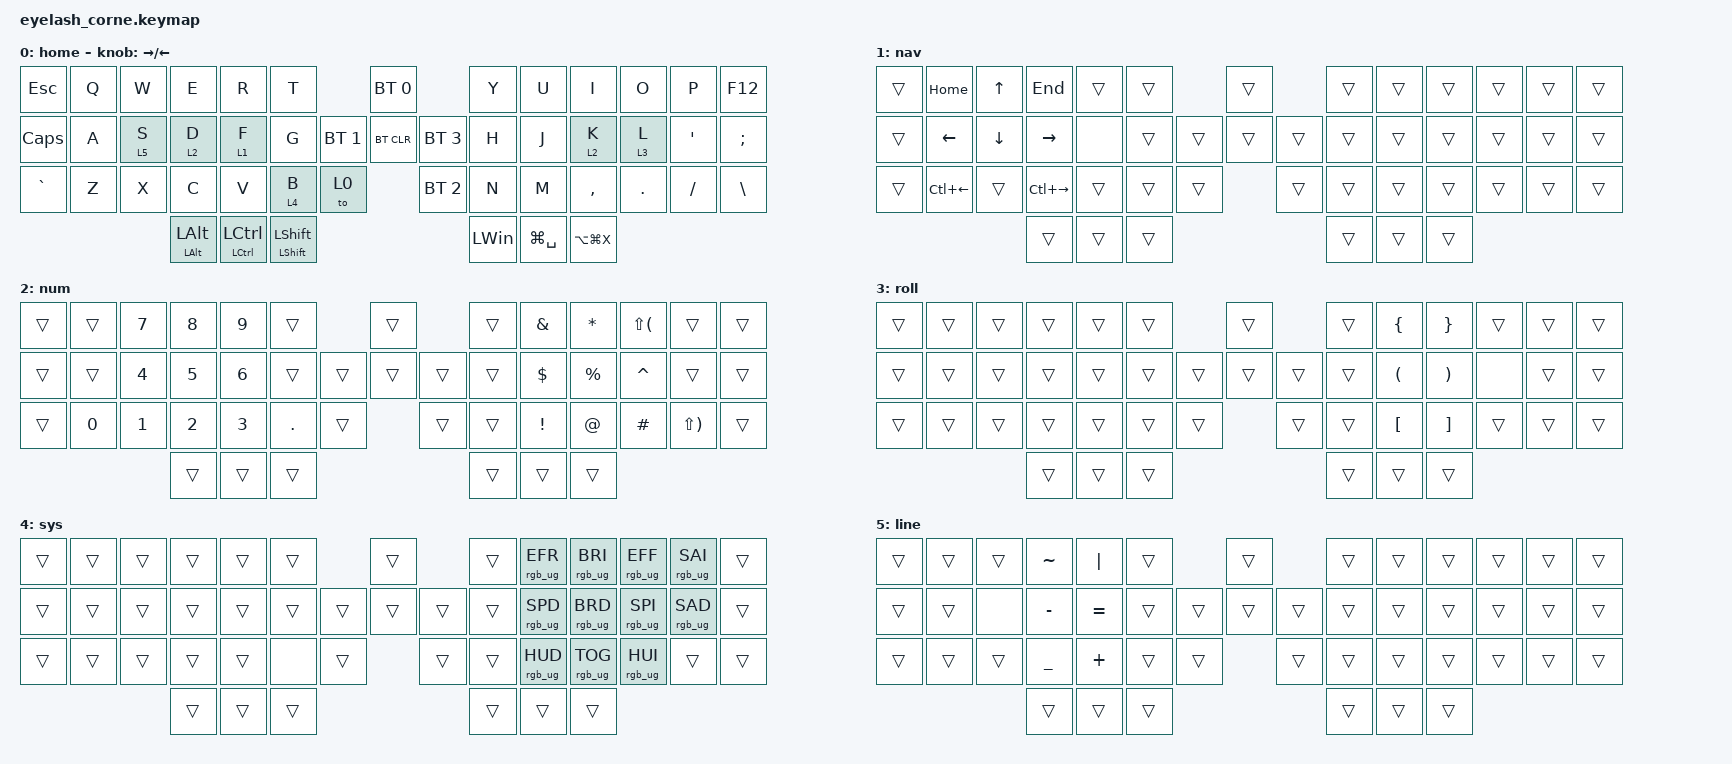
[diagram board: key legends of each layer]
#define ZMK_POINTING_DEFAULT_MOVE_VAL 1200  // 600
#define ZMK_POINTING_DEFAULT_SCRL_VAL 25   // 10

#include <input/processors.dtsi>
#include <zephyr/dt-bindings/input/input-event-codes.h>
#include <behaviors.dtsi>
#include <dt-bindings/zmk/bt.h>
#include <dt-bindings/zmk/keys.h>
#include <dt-bindings/zmk/pointing.h>
#include <dt-bindings/zmk/rgb.h>

&mmv_input_listener { input-processors = <&zip_xy_scaler 2 1>; };

&msc_input_listener { input-processors = <&zip_scroll_scaler 2 1>; };

&msc {
    acceleration-exponent = <1>;      // 0
    time-to-max-speed-ms = <100>;       // 300
    delay-ms = <0>;                   // 0
};

&mmv {
    time-to-max-speed-ms = <500>;
    acceleration-exponent = <1>;
    trigger-period-ms = <16>;
};

&soft_off { hold-time-ms = <2000>; };

/ {
    behaviors {
        nav_word: nav_word {
            compatible = "zmk,behavior-auto-layer";
            #binding-cells = <1>;
            continue-list = <LEFT DOWN UP RIGHT PG_DN PG_UP>;
            ignore-modifiers;
        };

        num_word: num_word {
            compatible = "zmk,behavior-auto-layer";
            #binding-cells = <1>;
            continue-list = <BSPC DEL DOT COMMA>;
            ignore-modifiers;
        };
    };

    rgb_encoder: rgb_encoder {
        compatible = "zmk,behavior-sensor-rotate";
        #sensor-binding-cells = <0>;
        bindings = <&rgb_ug RGB_BRI>, <&rgb_ug RGB_BRD>;
    };

    scroll_encoder: scroll_encoder {
        compatible = "zmk,behavior-sensor-rotate";
        #sensor-binding-cells = <0>;
        bindings = <&msc SCRL_DOWN>, <&msc SCRL_UP>;

        tap-ms = <100>;
    };

    hml: home_row_mod_left {
        compatible = "zmk,behavior-hold-tap";
        label = "HOME_ROW_MOD_LEFT";
        bindings = <&kp>, <&kp>;

        #binding-cells = <2>;
        tapping-term-ms = <200>;
        quick-tap-ms = <175>;
        require-prior-idle-ms = <150>;
        flavor = "balanced";
        hold-trigger-on-release;
        hold-trigger-key-positions = <8 7 22 36 37 38 39 26 25 24 23 9 10 11 40>;
    };

    hmr: home_row_mod_right {
        compatible = "zmk,behavior-hold-tap";
        label = "HOME_ROW_MOD_RIGHT";
        bindings = <&kp>, <&kp>;

        #binding-cells = <2>;
        tapping-term-ms = <200>;
        quick-tap-ms = <175>;
        require-prior-idle-ms = <150>;
        flavor = "balanced";
        hold-trigger-on-release;
        hold-trigger-key-positions = <1 2 3 4 5 14 15 16 17 18 29 30 31 32 33>;
    };

    hold_mo_tap_sk: hold_mo_tap_sk {
        compatible = "zmk,behavior-hold-tap";
        label = "HOLD_MO_TAP_SK";
        bindings = <&kp>, <&sk>;

        #binding-cells = <2>;
        tapping-term-ms = <200>;
    };

    combos {
        compatible = "zmk,combos";

        bksp {
            bindings = <&kp BACKSPACE>;
            key-positions = <16 32>;
            timeout-ms = <20>;
        };

        del {
            bindings = <&kp DEL>;
            key-positions = <16 30>;
            timeout-ms = <20>;
        };

        space {
            bindings = <&kp SPACE>;
            key-positions = <17 16>;
            timeout-ms = <20>;
        };

        tab {
            bindings = <&kp TAB>;
            key-positions = <16 15>;
            timeout-ms = <20>;
        };

        colon {
            bindings = <&kp COLON>;
            key-positions = <23 24>;
            timeout-ms = <20>;
        };

        semi {
            bindings = <&kp SEMI>;
            key-positions = <>;
            timeout-ms = <20>;
        };

        tilde {
            bindings = <&kp TILDE>;
            key-positions = <>;
            timeout-ms = <20>;
        };

        bslh {
            bindings = <&kp BSLH>;
            key-positions = <23 25>;
            timeout-ms = <20>;
        };

        one {
            bindings = <&hml F1 NUMBER_1>;
            key-positions = <43 30>;
            timeout-ms = <20>;
        };

        two {
            bindings = <&hml F2 NUMBER_2>;
            key-positions = <43 31>;
            timeout-ms = <20>;
        };

        three {
            bindings = <&hml F3 NUMBER_3>;
            key-positions = <32 43>;
            timeout-ms = <20>;
        };

        four {
            bindings = <&hml F4 N4>;
            key-positions = <15 43>;
            timeout-ms = <20>;
        };

        five {
            bindings = <&hml F5 N5>;
            key-positions = <16 43>;
            timeout-ms = <20>;
        };

        enter {
            bindings = <&kp ENTER>;
            key-positions = <17 15>;
            timeout-ms = <20>;
        };

        bootloader {
            bindings = <&bootloader>;
            key-positions = <1 29>;
            timeout-ms = <20>;
        };
    };

    macros {
        num_rgb_ug: num_rgb_ug {
            compatible = "zmk,behavior-macro";
            #binding-cells = <0>;
            bindings =
                <&macro_press>,
                <&mo 0>,
                <&macro_tap>,
                <&rgb_ug RGB_COLOR_HSB(0,91,57)>,
                <&macro_pause_for_release>,
                <&macro_release>,
                <&mo 0>,
                <&macro_tap>,
                <&rgb_ug RGB_COLOR_HSB(0,100,100)>;

            label = "NUM_RGB_UG";
        };
    };

    keymap {
        compatible = "zmk,keymap";

        home {
            display-name = "home";
            bindings = <
&kp ESCAPE  &kp Q  &kp W    &kp E                              &kp R                        &kp T                                               &bt BT_SEL 0                &kp Y         &kp U          &kp I          &kp O    &kp P     &kp F12
&kp CAPS    &kp A  &lt 5 S  &lt 2 D                            &lt 1 F                      &kp G                                 &bt BT_SEL 1  &bt BT_CLR    &bt BT_SEL 3  &kp H         &kp J          &lt 2 K        &lt 3 L  &kp SQT   &kp SEMICOLON
&kp GRAVE   &kp Z  &kp X    &kp C                              &kp V                        &lt 4 B                      &to 0                  &bt BT_SEL 2                &kp N         &kp M          &kp COMMA      &kp DOT  &kp FSLH  &kp BACKSLASH
                            &hold_mo_tap_sk LEFT_ALT LEFT_ALT  &hold_mo_tap_sk LCTRL LCTRL  &hold_mo_tap_sk LSHFT LSHFT                                                     &kp LEFT_WIN  &kp LG(SPACE)  &kp LA(LG(X))
            >;

            sensor-bindings = <&inc_dec_kp RIGHT LEFT>;
        };

        nav {
            bindings = <
&trans  &kp HOME      &kp UP    &kp END        &trans  &trans                    &trans          &trans  &trans  &trans  &trans  &trans  &trans
&trans  &kp LEFT      &kp DOWN  &kp RIGHT      &none   &trans            &trans  &trans  &trans  &trans  &trans  &trans  &trans  &trans  &trans
&trans  &kp LC(LEFT)  &trans    &kp LC(RIGHT)  &trans  &trans  &trans            &trans          &trans  &trans  &trans  &trans  &trans  &trans
                                &trans         &trans  &trans                                    &trans  &trans  &trans
            >;
        };

        num {
            bindings = <
&trans  &trans  &kp N7  &kp N8  &kp N9  &trans                     &trans          &trans  &kp AMPS  &kp STAR   &kp LS(LPAR)  &trans                     &trans
&trans  &trans  &kp N4  &kp N5  &kp N6  &trans             &trans  &trans  &trans  &trans  &kp DLLR  &kp PRCNT  &kp CARET     &trans                     &trans
&trans  &kp N0  &kp N1  &kp N2  &kp N3  &kp DOT  &trans            &trans          &trans  &kp EXCL  &kp AT     &kp HASH      &kp LS(RIGHT_PARENTHESIS)  &trans
                        &trans  &trans  &trans                                     &trans  &trans    &trans
            >;
        };

        roll {
            bindings = <
&trans  &trans  &trans  &trans  &trans  &trans                    &trans          &trans  &kp LEFT_BRACE        &kp RIGHT_BRACE        &trans  &trans  &trans
&trans  &trans  &trans  &trans  &trans  &trans            &trans  &trans  &trans  &trans  &kp LEFT_PARENTHESIS  &kp RIGHT_PARENTHESIS  &none   &trans  &trans
&trans  &trans  &trans  &trans  &trans  &trans  &trans            &trans          &trans  &kp LBKT              &kp RBKT               &trans  &trans  &trans
                        &trans  &trans  &trans                                    &trans  &trans                &trans
            >;
        };

        sys {
            bindings = <
&trans  &trans  &trans  &trans  &trans  &trans                    &trans          &trans  &rgb_ug RGB_EFR  &rgb_ug RGB_BRI  &rgb_ug RGB_EFF  &rgb_ug RGB_SAI  &trans
&trans  &trans  &trans  &trans  &trans  &trans            &trans  &trans  &trans  &trans  &rgb_ug RGB_SPD  &rgb_ug RGB_BRD  &rgb_ug RGB_SPI  &rgb_ug RGB_SAD  &trans
&trans  &trans  &trans  &trans  &trans  &none   &trans            &trans          &trans  &rgb_ug RGB_HUD  &rgb_ug RGB_TOG  &rgb_ug RGB_HUI  &trans           &trans
                        &trans  &trans  &trans                                    &trans  &trans           &trans
            >;
        };

        line {
            bindings = <
&trans  &trans  &trans  &kp TILDE  &kp PIPE   &trans                    &trans          &trans  &trans  &trans  &trans  &trans  &trans
&trans  &trans  &none   &kp MINUS  &kp EQUAL  &trans            &trans  &trans  &trans  &trans  &trans  &trans  &trans  &trans  &trans
&trans  &trans  &trans  &kp UNDER  &kp PLUS   &trans  &trans            &trans          &trans  &trans  &trans  &trans  &trans  &trans
                        &trans     &trans     &trans                                    &trans  &trans  &trans
            >;
        };
    };
};
